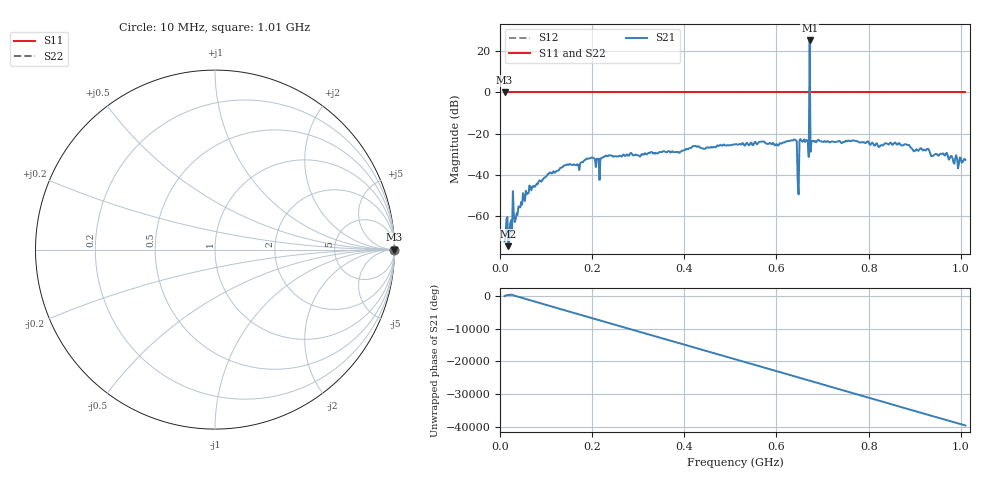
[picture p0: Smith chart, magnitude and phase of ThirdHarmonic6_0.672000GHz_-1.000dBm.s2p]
! 8/15/2025 10:23:09 PM
! C:\ANRITSUVNA\TEMP\TEMP.S2P
! CHANNEL.1
! TR.MEASUREMENT
! RAW.DATA
! RF.CORRECTION.OFF
! AVERAGING.OFF
! IF.BANDWIDTH: 5KHZ
! SWEEPTYPE:  FREQ.SWEEP(Linear)
! Reference Plane Port Info
! PORT:  PORT1  PORT2
! DISTANCE:  0  m  0  m
! TIME:  0  s  0  s
! PHASE.OFFSET:  0  deg.  0  deg.
! LOSS:  0  dB  0  dB
! REF.LOSS:  0  dB  0  dB
! REF.FREQ:  0  Hz  0  Hz
! Power Info
! POWER:  -20  dBm  -20  dBm
! EFF.POWER:  -20  dBm  -20  dBm
! SOURCE.ATTEN:  0  dB  0  dB
! TEST.ATTEN:  0  dB  0  dB
# GHZ S RI R 50.0
! FREQ.GHZ  S11RE  S11IM  S21RE  S21IM  S12RE  S12IM  S22RE  S22IM
!; PortSelection: Port_12
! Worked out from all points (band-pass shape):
!   501 points, 10 MHz to 1.01 GHz, reference 50 ohm
!   highest |S21| = 25.17 dB at 672 MHz (marker M1); lowest = -74.4 dB at 18 MHz (marker M2)
!   |S21| within 3 dB of the highest: 671.8936 MHz to 672.1114 MHz (217.8 kHz wide, 0.0324 % of centre)
!   lowest |S11| = 0.0 dB at 10 MHz (marker M3)
!   |S11| at or under -10 dB: nowhere
!   |S22| runs from 0.0 to 0.0 dB; largest |S21 - S12| = 18
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0.01  1 0  -0.00012 -0.000218  1 0  1 0
0.018  1 0  -0.000184 -5.01e-05  1 0  1 0
0.022  1 0  0.000658 3.42e-05  1 0  1 0
0.026  1 0  0.000237 -0.000336  1 0  1 0
0.034  1 0  -0.000142 -0.000833  1 0  1 0
0.068  1 0  0.00359 -0.00235  1 0  1 0
0.142  1 0  -0.0164 -0.00506  1 0  1 0
0.178  1 0  -0.0208 -0.00103  1 0  1 0
0.344  1 0  0.0299 -0.0171  1 0  1 0
0.51  1 0  -0.0295 0.0468  1 0  1 0
0.64  1 0  0.0105 -0.0716  1 0  1 0
0.644  1 0  -0.03 0.0587  1 0  1 0
0.646  1 0  0.00704 0.00174  1 0  1 0
0.65  1 0  -0.044 -0.0543  1 0  1 0
0.654  1 0  0.0276 0.0625  1 0  1 0
0.666  1 0  0.037 -0.0585  1 0  1 0
0.668  1 0  -0.0521 -0.0455  1 0  1 0
0.672  1 0  -3.778 17.74  1 0  1 0
0.676  1 0  -0.0139 -0.0648  1 0  1 0
0.678  1 0  -0.0669 0.00316  1 0  1 0
0.844  1 0  0.0391 -0.0386  1 0  1 0
1.01  1 0  -0.01 0.0211  1 0  1 0
